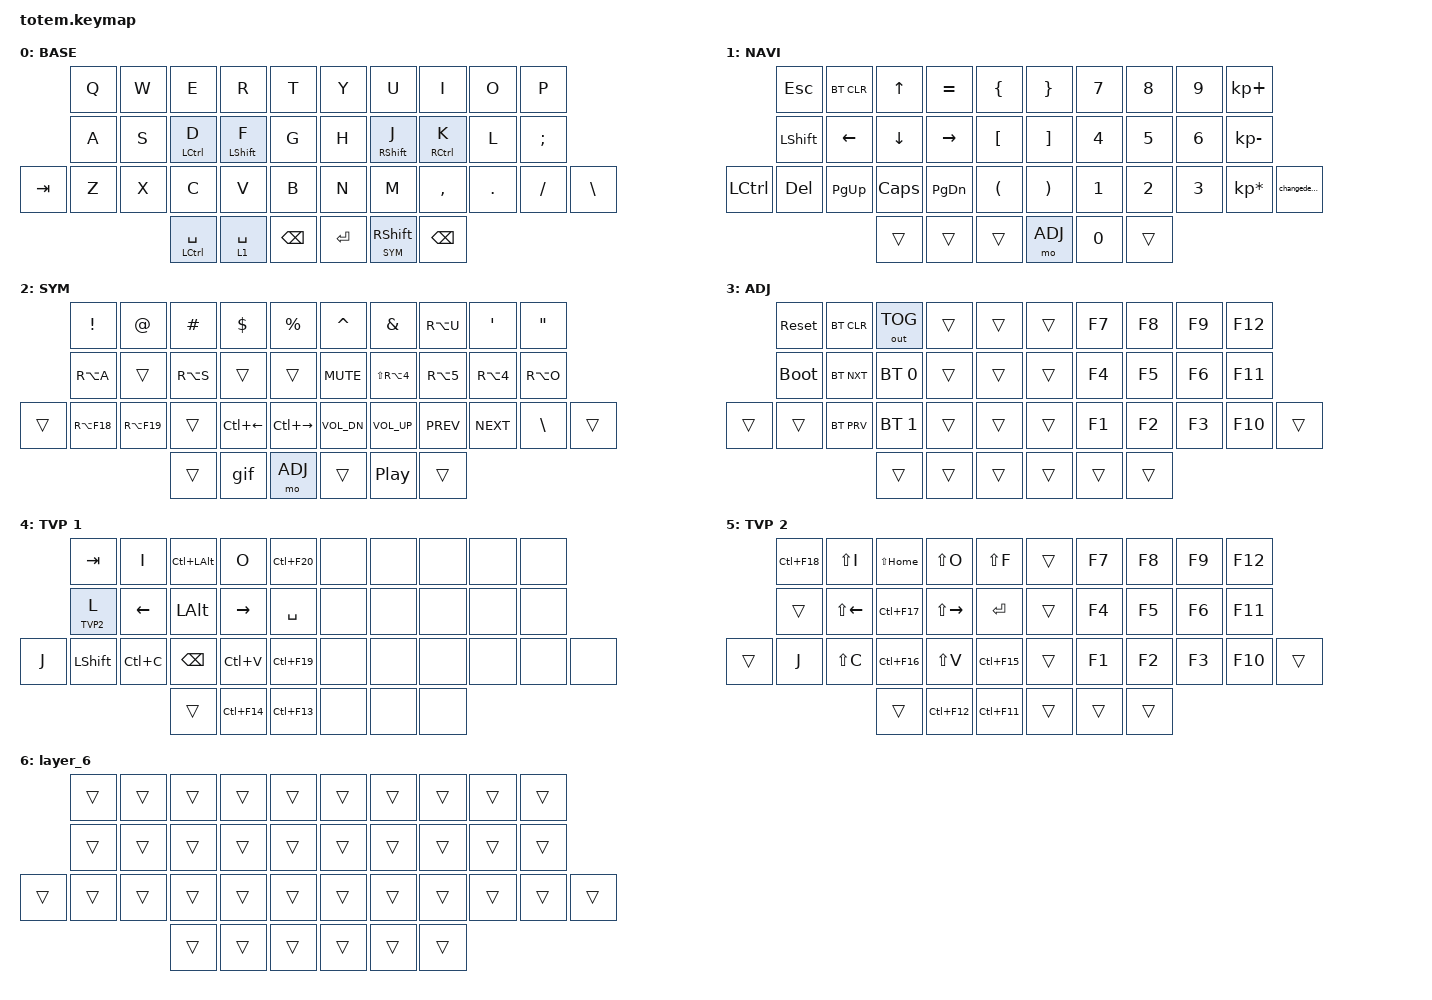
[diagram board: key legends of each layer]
//
//                                                        ▀▀▀▀▀     ▀▀▀▀▀          ▀▀█▀▀
//                                                        ▄▀▀▀▄  ▄  ▄▀▀▀▄  ▄  ▄▀▀▀▄  █  ▄▀▀▀▄
//                                                        █   █  █  █   █  █  █   █  █  █   █
//                                                         ▀▀▀   █   ▀▀▀   █   ▀▀▀   ▀   ▀▀▀
//                                                               █      ▄▄▄█▄▄▄    █   █  
//                                                               ▀      █  █  █     █▄█
//                                                             ▀▀▀▀▀    █  █  █      ▀
//                                                                      ▀  ▀  ▀
//
// ▄▄▄▄▄▄▄▄▄▄▄▄▄▄▄▄▄▄▄▄▄▄▄▄▄▄▄▄▄▄▄▄▄▄▄▄▄▄▄▄▄▄▄▄▄▄▄▄▄▄▄▄▄▄▄▄▄▄▄▄▄▄▄▄▄▄▄▄▄▄▄▄▄▄▄▄▄▄▄▄▄▄▄▄▄▄▄▄▄▄▄▄▄▄▄▄▄▄▄▄▄▄▄▄▄▄▄▄▄▄▄▄▄▄▄▄▄▄▄▄▄▄▄▄▄▄▄▄▄▄▄▄▄▄▄▄▄▄▄▄▄▄▄▄▄▄▄▄▄

#include <behaviors.dtsi>
#include <dt-bindings/zmk/bt.h>
#include <dt-bindings/zmk/keys.h>
#include <dt-bindings/zmk/outputs.h>

#define BASE 0
#define NAV  1
#define SYM  2
#define ADJ  3
#define TVP1 4
#define TVP2 5

&mt {
    quick-tap-ms = <100>;
    global-quick-tap;
    flavor = "tap-preferred";
    tapping-term-ms = <300>;
};

/ {
    combos {
        compatible = "zmk,combos";

        combo_esc {
            timeout-ms = <50>;
            key-positions = <0 1>;
            bindings = <&kp ESC>;
        };

        combo_tvp {
            timeout-ms = <100>;
            key-positions = <11 12 13>;
            bindings = <&tog TVP1>;
        };
    };

    macros {
        gif: gif {
            label = "giphy";
            compatible = "zmk,behavior-macro";
            #binding-cells = <0>;
            bindings =
                <&macro_press>,
                <&kp LSHFT>,
                <&macro_tap>,
                <&kp N2>,
                <&macro_release>,
                <&kp LSHFT>,
                <&macro_tap>,
                <&kp G &kp I &kp F>;
        };

        changedesktop: changedesktop {
            compatible = "zmk,behavior-macro";
            #binding-cells = <0>;
            bindings = <&kp LEFT_WIN &kp LEFT_CONTROL>;
            label = "CHANGEDESKTOP";
        };

        Copy: Copy {
            compatible = "zmk,behavior-macro";
            #binding-cells = <0>;
            bindings = <&kp LEFT_CONTROL &kp C>;
            label = "COPY";
        };

        Paste: Paste {
            compatible = "zmk,behavior-macro";
            #binding-cells = <0>;
            bindings = <&kp LEFT_CONTROL &kp P>;
            label = "PASTE";
        };
    };

    keymap {
        compatible = "zmk,keymap";

        // ▄▄▄▄▄▄▄▄▄▄▄▄▄▄▄▄▄▄▄▄▄▄▄▄▄▄▄▄▄▄▄▄▄▄▄▄▄▄▄▄▄▄▄▄▄▄▄▄▄▄▄▄▄▄▄▄▄▄▄▄▄▄▄▄▄▄▄▄▄▄▄▄▄▄▄▄▄▄▄▄▄▄▄▄▄▄▄▄▄▄▄▄▄▄▄▄▄▄▄▄▄▄▄▄▄▄▄▄▄▄▄▄▄▄▄▄▄▄▄▄▄▄▄▄▄▄▄▄▄▄▄▄▄▄▄▄▄▄▄▄▄▄▄▄▄▄▄▄▄

        base_layer {
            // ┏━━━━━━━━━━━━━━━━━━━━━━━━━━━━━━━━━━━━━━━┓

            label = "BASE";

            // ┗━━━━━━━━━━━━━━━━━━━━━━━━━━━━━━━━━━━━━━━┛
            //             ┏━━━━━━━━━━━┳━━━━━━━━━━━┳━━━━━━━━━━━┳━━━━━━━━━━━┳━━━━━━━━━━━┓   ┏━━━━━━━━━━━┳━━━━━━━━━━━┳━━━━━━━━━━━┳━━━━━━━━━━━┳━━━━━━━━━━━┓
            //             ┃     Q     ┃     W     ┃     F     ┃     P     ┃     G     ┃   ┃     J     ┃     L     ┃     U     ┃     Y     ┃     ;     ┃
            //             ┣━━━━━━━━━━━╋━━━━━━━━━━━╋━━━━━━━━━━━╋━━━━━━━━━━━╋━━━━━━━━━━━┫   ┣━━━━━━━━━━━╋━━━━━━━━━━━╋━━━━━━━━━━━╋━━━━━━━━━━━╋━━━━━━━━━━━┫
            //             ┃     A     ┃     R     ┃     S     ┃     T     ┃     D     ┃   ┃     H     ┃     N     ┃     E     ┃     I     ┃     O     ┃
            // ┏━━━━━━━━━━━╋━━━━━━━━━━━╋━━━━━━━━━━━╋━━━━━━━━━━━╋━━━━━━━━━━━╋━━━━━━━━━━━┫   ┣━━━━━━━━━━━╋━━━━━━━━━━━╋━━━━━━━━━━━╋━━━━━━━━━━━╋━━━━━━━━━━━╋━━━━━━━━━━━┓
            // ┃     Q     ┃     Z     ┃     X     ┃     C     ┃     V     ┃     B     ┃   ┃     K     ┃     M     ┃     ,     ┃     .     ┃     /     ┃     \     ┃
            // ┗━━━━━━━━━━━┻━━━━━━━━━━━┻━━━━━━━━━━━╋━━━━━━━━━━━╋━━━━━━━━━━━╋━━━━━━━━━━━┫   ┣━━━━━━━━━━━╋━━━━━━━━━━━╋━━━━━━━━━━━╋━━━━━━━━━━━┻━━━━━━━━━━━┻━━━━━━━━━━━┛
            //                                     ┃    DEL    ┃    TAB    ┃    SPC    ┃   ┃   ENTER   ┃           ┃   BSPC    ┃
            //                                     ┗━━━━━━━━━━━┻━━━━━━━━━━━┻━━━━━━━━━━━┛   ┗━━━━━━━━━━━┻━━━━━━━━━━━┻━━━━━━━━━━━┛

            bindings = <
         &kp Q  &kp W  &kp E                   &kp R        &kp T            &kp Y    &kp U                &kp I        &kp O    &kp P
         &kp A  &kp S  &mt LCTRL D             &mt LSHFT F  &kp G            &kp H    &mt RSHFT J          &mt RCTRL K  &kp L    &kp SEMI
&kp TAB  &kp Z  &kp X  &kp C                   &kp V        &kp B            &kp N    &kp M                &kp COMMA    &kp DOT  &kp FSLH  &kp BSLH
                       &mt LEFT_CONTROL SPACE  &lt 1 SPACE  &kp BACKSPACE    &kp RET  &lt SYM RIGHT_SHIFT  &kp BSPC
            >;
        };

        // ▄▄▄▄▄▄▄▄▄▄▄▄▄▄▄▄▄▄▄▄▄▄▄▄▄▄▄▄▄▄▄▄▄▄▄▄▄▄▄▄▄▄▄▄▄▄▄▄▄▄▄▄▄▄▄▄▄▄▄▄▄▄▄▄▄▄▄▄▄▄▄▄▄▄▄▄▄▄▄▄▄▄▄▄▄▄▄▄▄▄▄▄▄▄▄▄▄▄▄▄▄▄▄▄▄▄▄▄▄▄▄▄▄▄▄▄▄▄▄▄▄▄▄▄▄▄▄▄▄▄▄▄▄▄▄▄▄▄▄▄▄▄▄▄▄▄▄▄▄

        nav_layer {
            // ┏━━━━━━━━━━━━━━━━━━━━━━━━━━━━━━━━━━━━━━━┓

            label = "NAVI";

            // ┗━━━━━━━━━━━━━━━━━━━━━━━━━━━━━━━━━━━━━━━┛
            //             ┏━━━━━━━━━━━┳━━━━━━━━━━━┳━━━━━━━━━━━┳━━━━━━━━━━━┳━━━━━━━━━━━┓   ┏━━━━━━━━━━━┳━━━━━━━━━━━┳━━━━━━━━━━━┳━━━━━━━━━━━┳━━━━━━━━━━━┓
            //             ┃           ┃           ┃     UP    ┃           ┃     {     ┃   ┃     }     ┃     7     ┃     8     ┃     9     ┃     +     ┃
            //             ┣━━━━━━━━━━━╋━━━━━━━━━━━╋━━━━━━━━━━━╋━━━━━━━━━━━╋━━━━━━━━━━━┫   ┣━━━━━━━━━━━╋━━━━━━━━━━━╋━━━━━━━━━━━╋━━━━━━━━━━━╋━━━━━━━━━━━┫
            //             ┃   SHIFT   ┃   LEFT    ┃    DOWN   ┃   RIGHT   ┃     [     ┃   ┃     ]     ┃     4     ┃     5     ┃     6     ┃     -     ┃
            // ┏━━━━━━━━━━━╋━━━━━━━━━━━╋━━━━━━━━━━━╋━━━━━━━━━━━╋━━━━━━━━━━━╋━━━━━━━━━━━┫   ┣━━━━━━━━━━━╋━━━━━━━━━━━╋━━━━━━━━━━━╋━━━━━━━━━━━╋━━━━━━━━━━━╋━━━━━━━━━━━┓
            // ┃           ┃           ┃   P UP    ┃  C LOCK   ┃  P DOWN   ┃     (     ┃   ┃     )     ┃     1     ┃     2     ┃     3     ┃     *     ┃           ┃
            // ┗━━━━━━━━━━━┻━━━━━━━━━━━┻━━━━━━━━━━━╋━━━━━━━━━━━╋━━━━━━━━━━━╋━━━━━━━━━━━┫   ┣━━━━━━━━━━━╋━━━━━━━━━━━╋━━━━━━━━━━━╋━━━━━━━━━━━┻━━━━━━━━━━━┻━━━━━━━━━━━┛
            //                                     ┃           ┃    TAB    ┃    SPC    ┃   ┃    DEL    ┃     0     ┃           ┃
            //                                     ┗━━━━━━━━━━━┻━━━━━━━━━━━┻━━━━━━━━━━━┛   ┗━━━━━━━━━━━┻━━━━━━━━━━━┻━━━━━━━━━━━┛

            bindings = <
                  &kp ESC    &bt BT_CLR  &kp UP    &kp EQUAL  &kp LBRC    &kp RBRC  &kp NUMBER_7  &kp NUMBER_8  &kp NUMBER_9  &kp KP_PLUS
                  &kp LSHFT  &kp LEFT    &kp DOWN  &kp RIGHT  &kp LBKT    &kp RBKT  &kp NUMBER_4  &kp N5        &kp NUMBER_6  &kp KP_MINUS
&kp LEFT_CONTROL  &kp DEL    &kp PG_UP   &kp CAPS  &kp PG_DN  &kp LPAR    &kp RPAR  &kp NUMBER_1  &kp NUMBER_2  &kp N3        &kp KP_MULTIPLY  &changedesktop
                                         &trans    &trans     &trans      &mo ADJ   &kp N0        &trans
            >;
        };

        // ▄▄▄▄▄▄▄▄▄▄▄▄▄▄▄▄▄▄▄▄▄▄▄▄▄▄▄▄▄▄▄▄▄▄▄▄▄▄▄▄▄▄▄▄▄▄▄▄▄▄▄▄▄▄▄▄▄▄▄▄▄▄▄▄▄▄▄▄▄▄▄▄▄▄▄▄▄▄▄▄▄▄▄▄▄▄▄▄▄▄▄▄▄▄▄▄▄▄▄▄▄▄▄▄▄▄▄▄▄▄▄▄▄▄▄▄▄▄▄▄▄▄▄▄▄▄▄▄▄▄▄▄▄▄▄▄▄▄▄▄▄▄▄▄▄▄▄▄▄

        sim_layer {
            // ┏━━━━━━━━━━━━━━━━━━━━━━━━━━━━━━━━━━━━━━━┓

            label = "SYM";

            // ┗━━━━━━━━━━━━━━━━━━━━━━━━━━━━━━━━━━━━━━━┛
            //             ┏━━━━━━━━━━━┳━━━━━━━━━━━┳━━━━━━━━━━━┳━━━━━━━━━━━┳━━━━━━━━━━━┓   ┏━━━━━━━━━━━┳━━━━━━━━━━━┳━━━━━━━━━━━┳━━━━━━━━━━━┳━━━━━━━━━━━┓
            //             ┃     !     ┃     @     ┃     #     ┃     $     ┃     %     ┃   ┃     ˆ     ┃     &     ┃     Ü     ┃     '     ┃     "     ┃
            //             ┣━━━━━━━━━━━╋━━━━━━━━━━━╋━━━━━━━━━━━╋━━━━━━━━━━━╋━━━━━━━━━━━┫   ┣━━━━━━━━━━━╋━━━━━━━━━━━╋━━━━━━━━━━━╋━━━━━━━━━━━╋━━━━━━━━━━━┫
            //             ┃     Ä     ┃           ┃    SZ     ┃           ┃           ┃   ┃   MUTE    ┃   YEN     ┃   EURO    ┃  POUND    ┃     Ö     ┃
            // ┏━━━━━━━━━━━╋━━━━━━━━━━━╋━━━━━━━━━━━╋━━━━━━━━━━━╋━━━━━━━━━━━╋━━━━━━━━━━━┫   ┣━━━━━━━━━━━╋━━━━━━━━━━━╋━━━━━━━━━━━╋━━━━━━━━━━━╋━━━━━━━━━━━╋━━━━━━━━━━━┓
            // ┃           ┃  EMAIL1   ┃  EMAIL2   ┃           ┃           ┃           ┃   ┃   VOL-    ┃   VOL+    ┃   LAST    ┃   NEXT    ┃     \     ┃           ┃
            // ┗━━━━━━━━━━━┻━━━━━━━━━━━┻━━━━━━━━━━━╋━━━━━━━━━━━╋━━━━━━━━━━━╋━━━━━━━━━━━┫   ┣━━━━━━━━━━━╋━━━━━━━━━━━╋━━━━━━━━━━━╋━━━━━━━━━━━┻━━━━━━━━━━━┻━━━━━━━━━━━┛
            //                                     ┃           ┃    GIF    ┃    ADJ    ┃   ┃           ┃           ┃           ┃
            //                                     ┗━━━━━━━━━━━┻━━━━━━━━━━━┻━━━━━━━━━━━┛   ┗━━━━━━━━━━━┻━━━━━━━━━━━┻━━━━━━━━━━━┛

            bindings = <
        &kp EXCL     &kp AT       &kp HASH   &kp DLLR            &kp PRCNT              &kp CARET     &kp AMPS        &kp RA(U)   &kp SQT     &kp DQT
        &kp RA(A)    &trans       &kp RA(S)  &trans              &trans                 &kp C_MUTE    &kp LS(RA(N4))  &kp RA(N5)  &kp RA(N4)  &kp RA(O)
&trans  &kp RA(F18)  &kp RA(F19)  &trans     &kp LC(LEFT_ARROW)  &kp LC(RIGHT_ARROW)    &kp C_VOL_DN  &kp C_VOL_UP    &kp C_PREV  &kp C_NEXT  &kp BSLH   &trans
                                  &trans     &gif                &mo ADJ                &trans        &kp C_PP        &trans
            >;
        };

        // ▄▄▄▄▄▄▄▄▄▄▄▄▄▄▄▄▄▄▄▄▄▄▄▄▄▄▄▄▄▄▄▄▄▄▄▄▄▄▄▄▄▄▄▄▄▄▄▄▄▄▄▄▄▄▄▄▄▄▄▄▄▄▄▄▄▄▄▄▄▄▄▄▄▄▄▄▄▄▄▄▄▄▄▄▄▄▄▄▄▄▄▄▄▄▄▄▄▄▄▄▄▄▄▄▄▄▄▄▄▄▄▄▄▄▄▄▄▄▄▄▄▄▄▄▄▄▄▄▄▄▄▄▄▄▄▄▄▄▄▄▄▄▄▄▄▄▄▄▄

        adjust_layer {
            // ┏━━━━━━━━━━━━━━━━━━━━━━━━━━━━━━━━━━━━━━━┓

            label = "ADJ";

            // ┗━━━━━━━━━━━━━━━━━━━━━━━━━━━━━━━━━━━━━━━┛
            //             ┏━━━━━━━━━━━┳━━━━━━━━━━━┳━━━━━━━━━━━┳━━━━━━━━━━━┳━━━━━━━━━━━┓   ┏━━━━━━━━━━━┳━━━━━━━━━━━┳━━━━━━━━━━━┳━━━━━━━━━━━┳━━━━━━━━━━━┓
            //             ┃   RESET   ┃ BT CLEAR  ┃  OUT TOG  ┃           ┃           ┃   ┃           ┃    F7     ┃    F8     ┃    F9     ┃    F12    ┃
            //             ┣━━━━━━━━━━━╋━━━━━━━━━━━╋━━━━━━━━━━━╋━━━━━━━━━━━╋━━━━━━━━━━━┫   ┣━━━━━━━━━━━╋━━━━━━━━━━━╋━━━━━━━━━━━╋━━━━━━━━━━━╋━━━━━━━━━━━┫
            //             ┃ BOOTLOAD  ┃ BT NEXT   ┃           ┃           ┃           ┃   ┃           ┃    F4     ┃    F5     ┃    F6     ┃    F11    ┃
            // ┏━━━━━━━━━━━╋━━━━━━━━━━━╋━━━━━━━━━━━╋━━━━━━━━━━━╋━━━━━━━━━━━╋━━━━━━━━━━━┫   ┣━━━━━━━━━━━╋━━━━━━━━━━━╋━━━━━━━━━━━╋━━━━━━━━━━━╋━━━━━━━━━━━╋━━━━━━━━━━━┓
            // ┃           ┃           ┃ BT PREV   ┃           ┃           ┃           ┃   ┃           ┃    F1     ┃    F2     ┃    F3     ┃    F10    ┃           ┃
            // ┗━━━━━━━━━━━┻━━━━━━━━━━━┻━━━━━━━━━━━╋━━━━━━━━━━━╋━━━━━━━━━━━╋━━━━━━━━━━━┫   ┣━━━━━━━━━━━╋━━━━━━━━━━━╋━━━━━━━━━━━╋━━━━━━━━━━━┻━━━━━━━━━━━┻━━━━━━━━━━━┛
            //                                     ┃           ┃           ┃           ┃   ┃           ┃           ┃           ┃
            //                                     ┗━━━━━━━━━━━┻━━━━━━━━━━━┻━━━━━━━━━━━┛   ┗━━━━━━━━━━━┻━━━━━━━━━━━┻━━━━━━━━━━━┛

            bindings = <
        &sys_reset   &bt BT_CLR  &out OUT_TOG  &trans  &trans    &trans  &kp F7  &kp F8  &kp F9  &kp F12
        &bootloader  &bt BT_NXT  &bt BT_SEL 0  &trans  &trans    &trans  &kp F4  &kp F5  &kp F6  &kp F11
&trans  &trans       &bt BT_PRV  &bt BT_SEL 1  &trans  &trans    &trans  &kp F1  &kp F2  &kp F3  &kp F10  &trans
                                 &trans        &trans  &trans    &trans  &trans  &trans
            >;
        };

        // ▄▄▄▄▄▄▄▄▄▄▄▄▄▄▄▄▄▄▄▄▄▄▄▄▄▄▄▄▄▄▄▄▄▄▄▄▄▄▄▄▄▄▄▄▄▄▄▄▄▄▄▄▄▄▄▄▄▄▄▄▄▄▄▄▄▄▄▄▄▄▄▄▄▄▄▄▄▄▄▄▄▄▄▄▄▄▄▄▄▄▄▄▄▄▄▄▄▄▄▄▄▄▄▄▄▄▄▄▄▄▄▄▄▄▄▄▄▄▄▄▄▄▄▄▄▄▄▄▄▄▄▄▄▄▄▄▄▄▄▄▄▄▄▄▄▄▄▄▄

        tvp1_layer {
            // ┏━━━━━━━━━━━━━━━━━━━━━━━━━━━━━━━━━━━━━━━┓

            label = "TVP 1";

            // ┗━━━━━━━━━━━━━━━━━━━━━━━━━━━━━━━━━━━━━━━┛
            //             ┏━━━━━━━━━━━┳━━━━━━━━━━━┳━━━━━━━━━━━┳━━━━━━━━━━━┳━━━━━━━━━━━┓   ┏━━━━━━━━━━━┳━━━━━━━━━━━┳━━━━━━━━━━━┳━━━━━━━━━━━┳━━━━━━━━━━━┓
            //             ┃ NEXT FILE ┃ MARK IN   ┃ ROTATE    ┃ MARK OUT  ┃ SHOW SNAP ┃   ┃           ┃           ┃           ┃           ┃           ┃
            //             ┣━━━━━━━━━━━╋━━━━━━━━━━━╋━━━━━━━━━━━╋━━━━━━━━━━━╋━━━━━━━━━━━┫   ┣━━━━━━━━━━━╋━━━━━━━━━━━╋━━━━━━━━━━━╋━━━━━━━━━━━╋━━━━━━━━━━━┫
            //             ┃ TVP II    ┃ LEFT      ┃ PAN       ┃ RIGHT     ┃ PLAY/FLIP ┃   ┃           ┃           ┃           ┃           ┃           ┃
            // ┏━━━━━━━━━━━╋━━━━━━━━━━━╋━━━━━━━━━━━╋━━━━━━━━━━━╋━━━━━━━━━━━╋━━━━━━━━━━━┫   ┣━━━━━━━━━━━╋━━━━━━━━━━━╋━━━━━━━━━━━╋━━━━━━━━━━━╋━━━━━━━━━━━╋━━━━━━━━━━━┓
            // ┃ FULLSCR   ┃ SHIFT     ┃ COPY      ┃ DELETE    ┃ PASTE     ┃ IMG MARK  ┃   ┃           ┃           ┃           ┃           ┃           ┃           ┃
            // ┗━━━━━━━━━━━┻━━━━━━━━━━━┻━━━━━━━━━━━╋━━━━━━━━━━━╋━━━━━━━━━━━╋━━━━━━━━━━━┫   ┣━━━━━━━━━━━╋━━━━━━━━━━━╋━━━━━━━━━━━╋━━━━━━━━━━━┻━━━━━━━━━━━┻━━━━━━━━━━━┛
            //                                     ┃           ┃ UNDO/SAVE ┃  SEL/MOV  ┃   ┃           ┃           ┃           ┃
            //                                     ┗━━━━━━━━━━━┻━━━━━━━━━━━┻━━━━━━━━━━━┛   ┗━━━━━━━━━━━┻━━━━━━━━━━━┻━━━━━━━━━━━┛

            bindings = <
       &kp TAB     &kp I      &kp LC(LALT)  &kp O        &kp LC(F20)    &none  &none  &none  &none  &none
       &lt TVP2 L  &kp LEFT   &kp LALT      &kp RIGHT    &kp SPACE      &none  &none  &none  &none  &none
&kp J  &kp LSHFT   &kp LC(C)  &kp BSPC      &kp LC(V)    &kp LC(F19)    &none  &none  &none  &none  &none  &none
                              &trans        &kp LC(F14)  &kp LC(F13)    &none  &none  &none
            >;
        };

        // ▄▄▄▄▄▄▄▄▄▄▄▄▄▄▄▄▄▄▄▄▄▄▄▄▄▄▄▄▄▄▄▄▄▄▄▄▄▄▄▄▄▄▄▄▄▄▄▄▄▄▄▄▄▄▄▄▄▄▄▄▄▄▄▄▄▄▄▄▄▄▄▄▄▄▄▄▄▄▄▄▄▄▄▄▄▄▄▄▄▄▄▄▄▄▄▄▄▄▄▄▄▄▄▄▄▄▄▄▄▄▄▄▄▄▄▄▄▄▄▄▄▄▄▄▄▄▄▄▄▄▄▄▄▄▄▄▄▄▄▄▄▄▄▄▄▄▄▄▄

        tvp2_layer {
            // ┏━━━━━━━━━━━━━━━━━━━━━━━━━━━━━━━━━━━━━━━┓

            label = "TVP 2";

            // ┗━━━━━━━━━━━━━━━━━━━━━━━━━━━━━━━━━━━━━━━┛
            //             ┏━━━━━━━━━━━┳━━━━━━━━━━━┳━━━━━━━━━━━┳━━━━━━━━━━━┳━━━━━━━━━━━┓   ┏━━━━━━━━━━━┳━━━━━━━━━━━┳━━━━━━━━━━━┳━━━━━━━━━━━┳━━━━━━━━━━━┓
            //             ┃ SOLO      ┃ TOGGLE IN ┃ RESET ROT ┃ TOGGLE OUT┃ TAKE SNAP ┃   ┃           ┃           ┃           ┃           ┃           ┃
            //             ┣━━━━━━━━━━━╋━━━━━━━━━━━╋━━━━━━━━━━━╋━━━━━━━━━━━╋━━━━━━━━━━━┫   ┣━━━━━━━━━━━╋━━━━━━━━━━━╋━━━━━━━━━━━╋━━━━━━━━━━━╋━━━━━━━━━━━┫
            //             ┃ ---       ┃ LAST KEY  ┃ NEW KEY   ┃ NEXT KEY  ┃ ENTER     ┃   ┃           ┃           ┃           ┃           ┃           ┃
            // ┏━━━━━━━━━━━╋━━━━━━━━━━━╋━━━━━━━━━━━╋━━━━━━━━━━━╋━━━━━━━━━━━╋━━━━━━━━━━━┫   ┣━━━━━━━━━━━╋━━━━━━━━━━━╋━━━━━━━━━━━╋━━━━━━━━━━━╋━━━━━━━━━━━╋━━━━━━━━━━━┓
            // ┃           ┃ FULLSCR   ┃ CPY2BRUSH ┃ DEL HEAD  ┃ PSTinPLACE┃ BOOK MARK ┃   ┃           ┃           ┃           ┃           ┃           ┃           ┃
            // ┗━━━━━━━━━━━┻━━━━━━━━━━━┻━━━━━━━━━━━╋━━━━━━━━━━━╋━━━━━━━━━━━╋━━━━━━━━━━━┫   ┣━━━━━━━━━━━╋━━━━━━━━━━━╋━━━━━━━━━━━╋━━━━━━━━━━━┻━━━━━━━━━━━┻━━━━━━━━━━━┛
            //                                     ┃           ┃ REDO/SAV1 ┃TRANS/WARP ┃   ┃           ┃           ┃           ┃
            //                                     ┗━━━━━━━━━━━┻━━━━━━━━━━━┻━━━━━━━━━━━┛   ┗━━━━━━━━━━━┻━━━━━━━━━━━┻━━━━━━━━━━━┛

            bindings = <
        &kp LC(F18)  &kp LS(I)     &kp LS(HOME)  &kp LS(O)      &kp LS(F)      &trans  &kp F7  &kp F8  &kp F9  &kp F12
        &trans       &kp LS(LEFT)  &kp LC(F17)   &kp LS(RIGHT)  &kp RET        &trans  &kp F4  &kp F5  &kp F6  &kp F11
&trans  &kp J        &kp LS(C)     &kp LC(F16)   &kp LS(V)      &kp LC(F15)    &trans  &kp F1  &kp F2  &kp F3  &kp F10  &trans
                                   &trans        &kp LC(F12)    &kp LC(F11)    &trans  &trans  &trans
            >;
        };

        layer_6 {
            bindings = <
        &trans  &trans  &trans  &trans  &trans    &trans  &trans  &trans  &trans  &trans
        &trans  &trans  &trans  &trans  &trans    &trans  &trans  &trans  &trans  &trans
&trans  &trans  &trans  &trans  &trans  &trans    &trans  &trans  &trans  &trans  &trans  &trans
                        &trans  &trans  &trans    &trans  &trans  &trans
            >;
        };
    };
};
